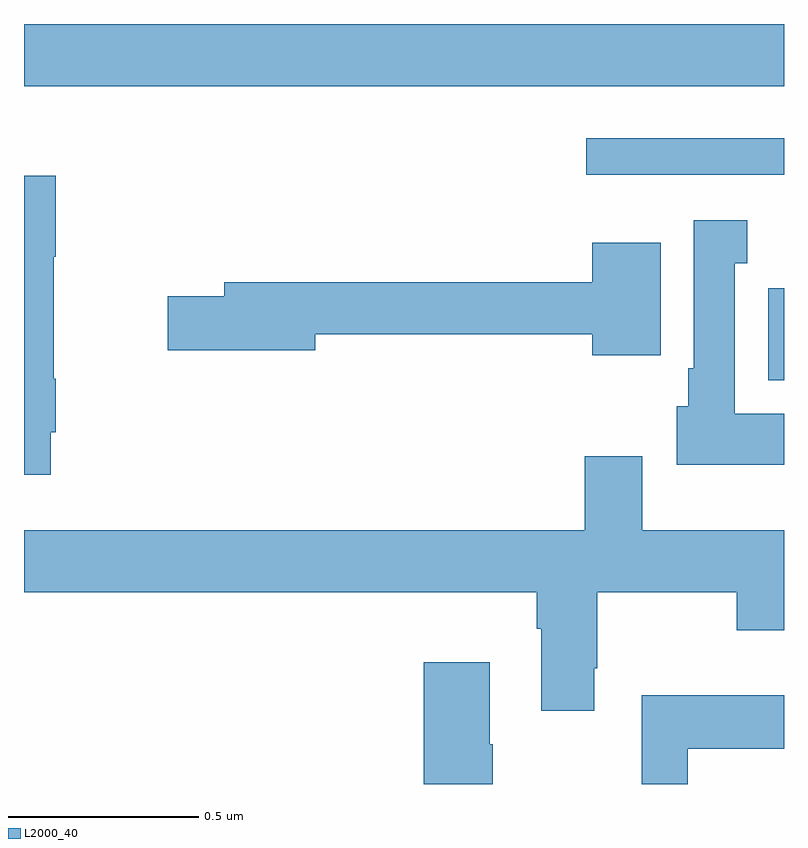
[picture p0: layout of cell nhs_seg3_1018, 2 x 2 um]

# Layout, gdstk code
import gdstk
lib = gdstk.Library(unit=1e-6, precision=1e-09)
def R(c, l, rs):  # rectangles x0, y0, x1, y1
    for r in rs: c.add(gdstk.rectangle(r[:2], r[2:], *l))
def P(c, l, *ps):  # polygons
    for p in ps: c.add(gdstk.Polygon(p, *l))
L2000_40 = (2000, 40)

nhs_seg3_1018 = lib.new_cell('nhs_seg3_1018')
R(nhs_seg3_1018, L2000_40, [(124.958,713.462,125,713.704), (124.479,714.003,125,714.1), (123,714.236,125,714.4)])
P(nhs_seg3_1018, L2000_40, [(123.07,713.326),(123.083,713.326),(123.083,713.466),(123.078,713.466),(123.078,713.788),(123.083,713.788),(123.083,714.001),(123,714.001),(123,713.214),(123.07,713.214)],
  [(125,713.374),(124.87,713.374),(124.87,713.771),(124.903,713.771),(124.903,713.884),(124.763,713.884),(124.763,713.494),(124.748,713.494),(124.748,713.394),(124.718,713.394),(124.718,713.24),(125,713.24)],
  [(124.675,713.824),(124.496,713.824),(124.496,713.72),(123.527,713.72),(123.527,713.684),(123.378,713.684),(123.378,713.542),(123.766,713.542),(123.766,713.584),(124.496,713.584),(124.496,713.528),(124.675,713.528)],
  [(124.501,712.705),(124.509,712.705),(124.509,712.904),(124.876,712.904),(124.876,712.805),(125,712.805),(125,713.068),(124.627,713.068),(124.627,713.263),(124.475,713.263),(124.475,713.068),(123,713.068),(123,712.904),(124.349,712.904),(124.349,712.808),(124.361,712.808),(124.361,712.593),(124.501,712.593)],
  [(124.233,712.505),(124.225,712.505),(124.225,712.72),(124.052,712.72),(124.052,712.4),(124.233,712.4)],
  [(124.747,712.493),(125,712.493),(125,712.633),(124.626,712.633),(124.626,712.4),(124.747,712.4)])

lib.write_gds('nhs_seg3_1018.gds')
